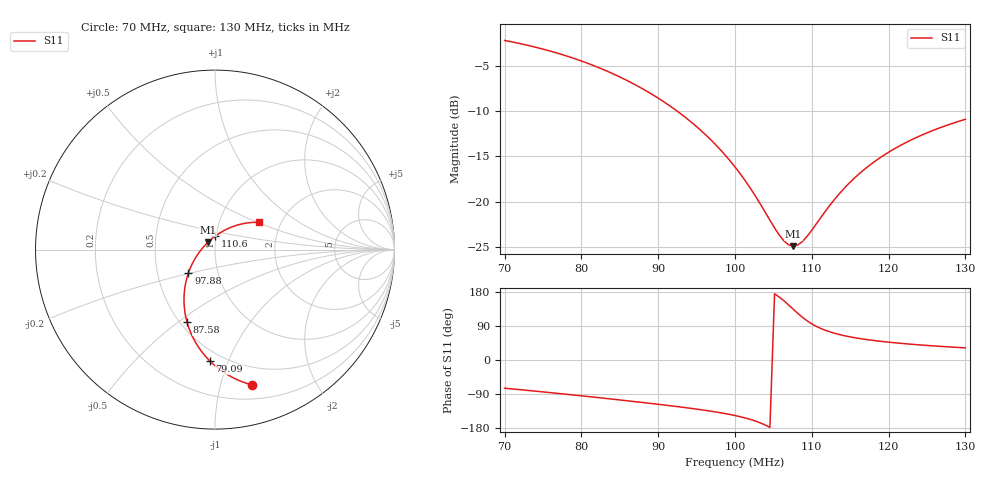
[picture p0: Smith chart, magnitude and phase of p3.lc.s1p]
# Hz S RI R 50
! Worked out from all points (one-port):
!   100 points, 70 MHz to 130 MHz, reference 50 ohm
!   lowest |S11| = -24.9 dB at 107.6 MHz (marker M1), VSWR 1.12, Z = 46.1 + j3.75 ohm
!   |S11| at or under -10 dB: 92.52 MHz to end of sweep
!   S11 on the Smith chart (normalised r, x): 70 MHz: 0.32, -1.26; 79.09 MHz: 0.43, -0.86; 87.58 MHz: 0.54, -0.54; 97.88 MHz: 0.72, -0.20; 110.6 MHz: 0.99, +0.15; 130 MHz: 1.54, +0.51
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7e7  0.2088 -0.7546
7.363636e7  0.1071 -0.7171
7.787879e7  -0.00113 -0.6459
7.909091e7  -0.0285 -0.6206
8.212121e7  -0.088 -0.5492
8.515152e7  -0.1325 -0.4693
8.757576e7  -0.1563 -0.4021
9e7  -0.1695 -0.3341
9.30303e7  -0.172 -0.2515
9.545455e7  -0.164 -0.1892
9.787879e7  -0.1485 -0.1316
1.00303e8  -0.1269 -0.0796
1.021212e8  -0.1076 -0.0444
1.057576e8  -0.0634 0.0156
1.063636e8  -0.0555 0.0243
1.069697e8  -0.0475 0.0326
1.075758e8  -0.0394 0.0406
1.081818e8  -0.0312 0.0482
1.087879e8  -0.023 0.0555
1.093939e8  -0.0148 0.0625
1.106061e8  0.00187 0.0754
1.130303e8  0.0352 0.0975
1.154545e8  0.0683 0.1151
1.172727e8  0.0926 0.1256
1.190909e8  0.1163 0.134
1.227273e8  0.1616 0.1455
1.263636e8  0.2038 0.1509
1.3e8  0.2426 0.1516
